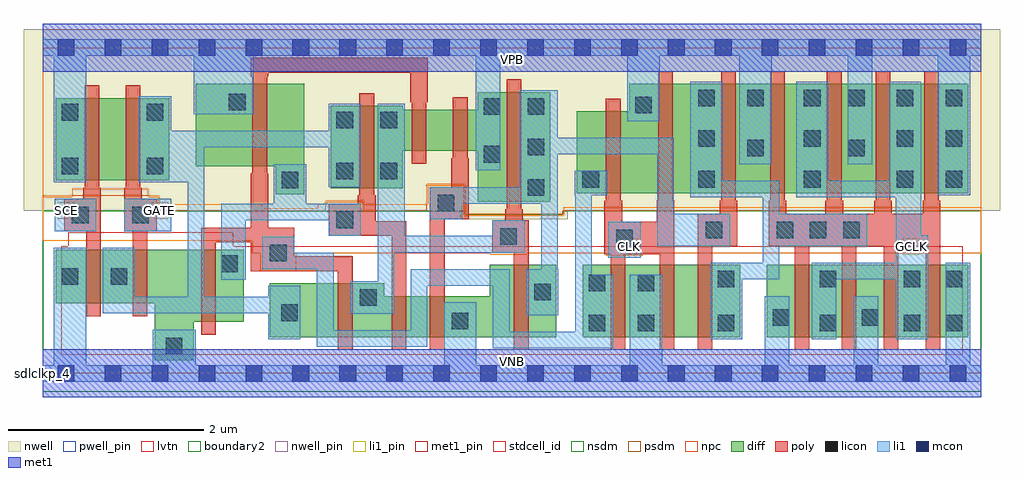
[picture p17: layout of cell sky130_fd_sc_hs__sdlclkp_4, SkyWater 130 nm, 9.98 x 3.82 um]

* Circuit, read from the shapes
.subckt sky130_fd_sc_hs__sdlclkp_4 CLK GATE GCLK SCE VGND VNB VPB VPWR
XM1 n1 SCE VGND VNB sky130_fd_pr__nfet_01v8_lvt w=0.55 l=0.15
XM2 VGND GATE n1 VNB sky130_fd_pr__nfet_01v8_lvt w=0.55 l=0.15
XM3 n2 n3 VGND VNB sky130_fd_pr__nfet_01v8_lvt w=0.74 l=0.15
XM4 n4 n3 n1 VNB sky130_fd_pr__nfet_01v8_lvt w=0.55 l=0.15
XM5 n5 n2 n4 VNB sky130_fd_pr__nfet_01v8_lvt w=0.42 l=0.15
XM6 VGND n6 n5 VNB sky130_fd_pr__nfet_01v8_lvt w=0.42 l=0.15
XM7 n6 n4 VGND VNB sky130_fd_pr__nfet_01v8_lvt w=0.74 l=0.15
XM8 VGND CLK n3 VNB sky130_fd_pr__nfet_01v8_lvt w=0.74 l=0.15
XM9 n7 CLK VGND VNB sky130_fd_pr__nfet_01v8_lvt w=0.74 l=0.15
XM10 n8 n6 n7 VNB sky130_fd_pr__nfet_01v8_lvt w=0.74 l=0.15
XM11 GCLK n8 VGND VNB sky130_fd_pr__nfet_01v8_lvt w=0.74 l=0.15 m=4
XM12 n9 SCE VPWR VPB sky130_fd_pr__pfet_01v8 w=0.84 l=0.15
XM13 n1 GATE n9 VPB sky130_fd_pr__pfet_01v8 w=0.84 l=0.15
XM14 n2 n3 VPWR VPB sky130_fd_pr__pfet_01v8 w=0.84 l=0.15
XM15 n4 n2 n1 VPB sky130_fd_pr__pfet_01v8 w=0.84 l=0.15
XM16 n10 n3 n4 VPB sky130_fd_pr__pfet_01v8 w=0.42 l=0.15
XM17 VPWR n6 n10 VPB sky130_fd_pr__pfet_01v8 w=0.42 l=0.15
XM18 n6 n4 VPWR VPB sky130_fd_pr__pfet_01v8 w=1.12 l=0.15
XM19 VPWR CLK n3 VPB sky130_fd_pr__pfet_01v8 w=0.84 l=0.15
XM20 n8 CLK VPWR VPB sky130_fd_pr__pfet_01v8 w=1.12 l=0.15
XM21 VPWR n6 n8 VPB sky130_fd_pr__pfet_01v8 w=1.12 l=0.15
XM22 GCLK n8 VPWR VPB sky130_fd_pr__pfet_01v8 w=1.12 l=0.15 m=4
.ends

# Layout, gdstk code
import gdstk
lib = gdstk.Library(unit=1e-6, precision=1e-09)
def R(c, l, rs):  # rectangles x0, y0, x1, y1
    for r in rs: c.add(gdstk.rectangle(r[:2], r[2:], *l))
def A(c, l, x, y, w, h, nx, ny, dx, dy):  # array of equal rectangles
    R(c, l, [(x+i*dx, y+j*dy, x+i*dx+w, y+j*dy+h) for i in range(nx) for j in range(ny)])
def P(c, l, *ps):  # polygons
    for p in ps: c.add(gdstk.Polygon(p, *l))
nwell_pin = (64, 16)
nwell = (64, 20)
diff = (65, 20)
poly = (66, 20)
licon = (66, 44)
li1_pin = (67, 16)
li1 = (67, 20)
mcon = (67, 44)
met1_pin = (68, 16)
met1 = (68, 20)
stdcell_id = (81, 4)
nsdm = (93, 44)
psdm = (94, 20)
npc = (95, 20)
pwell_pin = (122, 16)
lvtn = (125, 44)
boundary2 = (236, 0)

sky130_fd_sc_hs__sdlclkp = lib.new_cell('sky130_fd_sc_hs__sdlclkp_4')
R(sky130_fd_sc_hs__sdlclkp, nwell_pin, [(0,3.085,9.6,3.33)])
P(sky130_fd_sc_hs__sdlclkp, nwell, [(9.79,3.52),(-0.19,3.52),(-0.19,1.66),(1.385,1.66),(1.385,1.65),(4.27,1.65),(4.27,1.575),(5.37,1.575),(5.37,1.66),(9.79,1.66)])
R(sky130_fd_sc_hs__sdlclkp, diff, [(5.525,0.37,7.135,1.11), (7.405,0.37,9.465,1.11), (0.135,1.975,1.295,2.815)])
P(sky130_fd_sc_hs__sdlclkp, diff, [(2.055,1.265),(0.135,1.265),(0.135,0.715),(1.145,0.715),(1.145,0.135),(1.545,0.135),(1.545,0.525),(2.055,0.525)],
  [(2.675,2.96),(1.565,2.96),(1.565,2.12),(2.385,2.12),(2.385,1.83),(2.675,1.83)],
  [(5.19,2.875),(4.45,2.875),(4.45,2.695),(3.685,2.695),(3.685,2.735),(2.945,2.735),(2.945,1.895),(3.685,1.895),(3.685,2.275),(4.45,2.275),(4.45,1.755),(5.19,1.755)],
  [(5.255,1.11),(4.57,1.11),(4.57,0.79),(3.495,0.79),(3.495,0.92),(2.325,0.92),(2.325,0.37),(5.255,0.37)],
  [(9.465,2.96),(6,2.96),(6,2.68),(5.46,2.68),(5.46,1.84),(9.465,1.84)])
P(sky130_fd_sc_hs__sdlclkp, poly, [(9.18,1.765),(9.165,1.765),(9.165,3.09),(9.015,3.09),(9.015,1.765),(9,1.765),(9,1.63),(8.685,1.63),(8.685,1.765),(8.67,1.765),(8.67,3.09),(8.52,3.09),(8.52,1.765),(8.505,1.765),(8.505,1.63),(8.185,1.63),(8.185,1.765),(8.17,1.765),(8.17,3.09),(8.02,3.09),(8.02,1.765),(8.005,1.765),(8.005,1.63),(7.605,1.63),(7.605,1.765),(7.59,1.765),(7.59,3.09),(7.44,3.09),(7.44,1.765),(7.425,1.765),(7.425,1.3),(7.69,1.3),(7.69,0.24),(7.84,0.24),(7.84,1.3),(8.17,1.3),(8.17,0.24),(8.32,0.24),(8.32,1.3),(8.6,1.3),(8.6,0.24),(8.75,0.24),(8.75,1.3),(9.03,1.3),(9.03,0.24),(9.18,0.24)],
  [(7.105,1.765),(7.09,1.765),(7.09,3.09),(6.94,3.09),(6.94,1.765),(6.925,1.765),(6.925,1.63),(6.7,1.63),(6.7,0.24),(6.85,0.24),(6.85,1.3),(7.105,1.3)],
  [(6.46,1.765),(6.445,1.765),(6.445,3.09),(6.295,3.09),(6.295,1.765),(6.28,1.765),(6.28,1.55),(5.925,1.55),(5.925,1.765),(5.91,1.765),(5.91,2.81),(5.76,2.81),(5.76,1.765),(5.745,1.765),(5.745,1.22),(5.81,1.22),(5.81,0.24),(5.96,0.24),(5.96,1.22),(6.31,1.22),(6.31,0.24),(6.46,0.24)],
  [(4.97,1.565),(4.91,1.565),(4.91,1.68),(4.895,1.68),(4.895,3.005),(4.745,3.005),(4.745,1.68),(4.73,1.68),(4.73,1.565),(4.6,1.565),(4.6,1.235),(4.82,1.235),(4.82,0.24),(4.97,0.24)],
  [(4.36,2.2),(4.345,2.2),(4.345,2.825),(4.195,2.825),(4.195,2.2),(4.18,2.2),(4.18,1.905),(3.96,1.905),(3.96,0.24),(4.11,0.24),(4.11,1.575),(4.36,1.575)],
  [(3.94,3.225),(2.13,3.225),(2.13,3.035),(2.145,3.035),(2.145,2.045),(2.13,2.045),(2.13,1.49),(1.62,1.49),(1.62,0.395),(1.77,0.395),(1.77,1.34),(2.13,1.34),(2.13,1.045),(3.02,1.045),(3.02,0.24),(3.17,0.24),(3.17,1.195),(2.575,1.195),(2.575,1.49),(2.31,1.49),(2.31,2.045),(2.295,2.045),(2.295,3.035),(2.31,3.035),(2.31,3.075),(3.76,3.075),(3.76,2.77),(3.775,2.77),(3.775,2.145),(3.925,2.145),(3.925,2.77),(3.94,2.77)],
  [(3.72,1.555),(3.405,1.555),(3.405,1.82),(3.39,1.82),(3.39,2.865),(3.24,2.865),(3.24,1.82),(3.225,1.82),(3.225,1.735),(2.925,1.735),(2.925,1.405),(3.57,1.405),(3.57,0.24),(3.72,0.24)],
  [(1.165,1.785),(1.015,1.785),(1.015,1.9),(1,1.9),(1,2.945),(0.85,2.945),(0.85,1.9),(0.835,1.9),(0.835,1.455),(0.92,1.455),(0.92,0.585),(1.07,0.585),(1.07,1.455),(1.165,1.455)],
  [(0.595,1.9),(0.58,1.9),(0.58,2.945),(0.43,2.945),(0.43,1.9),(0.415,1.9),(0.415,1.785),(0.22,1.785),(0.22,1.455),(0.445,1.455),(0.445,0.585),(0.595,0.585)])
A(sky130_fd_sc_hs__sdlclkp, licon, 7.505, 1.38, 0.17, 0.17, 3, 1, 0.34, 0)
A(sky130_fd_sc_hs__sdlclkp, licon, 4.96, 1.815, 0.17, 0.17, 1, 3, 0, 0.415)
A(sky130_fd_sc_hs__sdlclkp, licon, 6.705, 1.9, 0.17, 0.17, 1, 3, 0, 0.415)
A(sky130_fd_sc_hs__sdlclkp, licon, 7.785, 1.9, 0.17, 0.17, 1, 3, 0, 0.415)
A(sky130_fd_sc_hs__sdlclkp, licon, 8.235, 2.73, 0.17, 0.17, 3, 1, 0.5, 0)
R(sky130_fd_sc_hs__sdlclkp, licon, [(1.26,0.195,1.43,0.365), (5.585,0.43,5.755,0.6), (6.085,0.43,6.255,0.6), (6.905,0.43,7.075,0.6), (7.945,0.43,8.115,0.6), (8.805,0.43,8.975,0.6), (9.235,0.43,9.405,0.6), (4.185,0.45,4.355,0.62), (7.465,0.485,7.635,0.655), (8.375,0.485,8.545,0.655), (2.44,0.535,2.61,0.705), (3.245,0.69,3.415,0.86), (5.025,0.745,5.195,0.915), (5.585,0.84,5.755,1.01), (6.085,0.84,6.255,1.01), (6.905,0.88,7.075,1.05), (7.945,0.88,8.115,1.05), (8.805,0.88,8.975,1.05), (9.235,0.88,9.405,1.05), (0.195,0.905,0.365,1.075), (0.695,0.905,0.865,1.075), (1.825,1.035,1.995,1.205), (2.325,1.145,2.495,1.315), (5.865,1.3,6.035,1.47), (4.68,1.315,4.85,1.485), (6.78,1.38,6.95,1.55), (3.005,1.485,3.175,1.655), (0.3,1.535,0.47,1.705), (0.915,1.535,1.085,1.705), (4.04,1.655,4.21,1.825), (2.445,1.89,2.615,2.06), (5.52,1.9,5.69,2.07), (8.735,1.9,8.905,2.07), (9.235,1.9,9.405,2.07), (3.005,1.985,3.175,2.155), (3.455,1.985,3.625,2.155), (0.195,2.035,0.365,2.205), (1.065,2.035,1.235,2.205), (4.51,2.155,4.68,2.325), (7.205,2.22,7.375,2.39), (8.235,2.22,8.405,2.39), (8.735,2.315,8.905,2.485), (9.235,2.315,9.405,2.485), (3.005,2.505,3.175,2.675), (3.455,2.505,3.625,2.675), (0.195,2.585,0.365,2.755), (1.065,2.585,1.235,2.755), (4.51,2.645,4.68,2.815), (6.06,2.66,6.23,2.83), (1.905,2.69,2.075,2.86), (7.205,2.73,7.375,2.9)])
R(sky130_fd_sc_hs__sdlclkp, li1_pin, [(5.915,1.21,6.085,1.38), (8.795,1.21,8.965,1.38), (0.155,1.58,0.325,1.75), (1.115,1.58,1.285,1.75)])
R(sky130_fd_sc_hs__sdlclkp, li1, [(5.785,1.18,6.115,1.55), (0.125,1.455,0.55,1.785), (0.835,1.455,1.315,1.785)])
P(sky130_fd_sc_hs__sdlclkp, li1, [(0,-0.085),(0,0.085),(0.115,0.085),(0.115,1.285),(0.445,1.285),(0.445,0.085),(1.125,0.085),(1.125,0.445),(1.565,0.445),(1.565,0.085),(4.105,0.085),(4.105,0.725),(4.435,0.725),(4.435,0.085),(6.005,0.085),(6.005,1.01),(6.335,1.01),(6.335,0.085),(7.385,0.085),(7.385,0.79),(7.635,0.79),(7.635,0.085),(8.295,0.085),(8.295,0.79),(8.545,0.79),(8.545,0.085),(9.235,0.085),(9.235,1.13),(9.485,1.13),(9.485,0.085),(9.6,0.085),(9.6,-0.085)],
  [(0,3.245),(0,3.415),(9.6,3.415),(9.6,3.245),(9.485,3.245),(9.485,1.82),(9.155,1.82),(9.155,3.245),(8.485,3.245),(8.485,2.14),(8.235,2.14),(8.235,3.245),(7.455,3.245),(7.455,2.14),(7.125,2.14),(7.125,3.245),(6.31,3.245),(6.31,2.58),(5.98,2.58),(5.98,3.245),(4.68,3.245),(4.68,2.075),(4.43,2.075),(4.43,3.245),(2.16,3.245),(2.16,2.65),(1.545,2.65),(1.545,3.245),(0.445,3.245),(0.445,1.955),(0.115,1.955),(0.115,3.245)],
  [(8.725,0.35),(8.725,0.96),(8.115,0.96),(8.115,0.35),(7.865,0.35),(7.865,1.13),(8.725,1.13),(8.725,1.8),(7.705,1.8),(7.705,2.98),(8.035,2.98),(8.035,1.97),(8.655,1.97),(8.655,2.98),(8.985,2.98),(8.985,1.41),(9.055,1.41),(9.055,0.35)],
  [(7.535,0.96),(7.155,0.96),(7.155,0.35),(6.825,0.35),(6.825,1.13),(7.365,1.13),(7.365,1.8),(6.625,1.8),(6.625,2.98),(6.955,2.98),(6.955,1.97),(7.535,1.97),(7.535,1.63),(8.435,1.63),(8.435,1.3),(7.535,1.3)],
  [(3.425,2.755),(3.705,2.755),(3.705,1.405),(4.6,1.405),(4.6,1.565),(4.93,1.565),(4.93,1.235),(3.595,1.235),(3.595,0.61),(3.145,0.61),(3.145,0.94),(3.425,0.94)],
  [(5.1,1.065),(5.1,1.735),(4.29,1.735),(4.29,1.575),(3.96,1.575),(3.96,1.905),(4.88,1.905),(4.88,2.895),(5.27,2.895),(5.27,2.41),(6.455,2.41),(6.455,1.63),(7.03,1.63),(7.03,1.3),(6.285,1.3),(6.285,2.24),(5.27,2.24),(5.27,1.065),(5.275,1.065),(5.275,0.595),(4.945,0.595),(4.945,1.065)],
  [(5.615,1.82),(5.615,1.01),(5.835,1.01),(5.835,0.255),(4.605,0.255),(4.605,0.895),(3.935,0.895),(3.935,0.27),(2.805,0.27),(2.805,1.065),(2.245,1.065),(2.245,1.395),(2.575,1.395),(2.575,1.235),(2.975,1.235),(2.975,0.44),(3.765,0.44),(3.765,1.065),(4.775,1.065),(4.775,0.425),(5.445,0.425),(5.445,1.82),(5.44,1.82),(5.44,2.07),(5.775,2.07),(5.775,1.82)],
  [(1.315,2.48),(2.925,2.48),(2.925,2.755),(3.255,2.755),(3.255,1.905),(2.925,1.905),(2.925,2.31),(1.655,2.31),(1.655,0.785),(2.305,0.785),(2.305,0.895),(2.635,0.895),(2.635,0.35),(2.305,0.35),(2.305,0.615),(0.615,0.615),(0.615,1.285),(0.945,1.285),(0.945,0.785),(1.485,0.785),(1.485,1.955),(0.985,1.955),(0.985,2.835),(1.315,2.835)],
  [(1.825,1.735),(2.365,1.735),(2.365,2.14),(2.695,2.14),(2.695,1.735),(3.255,1.735),(3.255,1.405),(2.925,1.405),(2.925,1.565),(2.075,1.565),(2.075,0.955),(1.825,0.955)])
A(sky130_fd_sc_hs__sdlclkp, mcon, 0.155, -0.085, 0.17, 0.17, 20, 2, 0.48, 3.33)
R(sky130_fd_sc_hs__sdlclkp, met1_pin, [(0,0,9.6,0.245), (0,3.085,9.6,3.33)])
R(sky130_fd_sc_hs__sdlclkp, met1, [(0,-0.245,9.6,0.245), (0,3.085,9.6,3.575)])
R(sky130_fd_sc_hs__sdlclkp, stdcell_id, [(0,0,9.6,3.33)])
P(sky130_fd_sc_hs__sdlclkp, nsdm, [(9.6,1.66),(5.32,1.66),(5.32,1.625),(4.32,1.625),(4.32,1.66),(0,1.66),(0,-0.19),(9.6,-0.19)])
P(sky130_fd_sc_hs__sdlclkp, psdm, [(9.6,3.52),(0,3.52),(0,1.815),(1.195,1.815),(1.195,1.66),(2.895,1.66),(2.895,1.765),(3.285,1.765),(3.285,1.66),(3.93,1.66),(3.93,1.935),(4.32,1.935),(4.32,1.625),(5.32,1.625),(5.32,1.66),(9.6,1.66)])
P(sky130_fd_sc_hs__sdlclkp, npc, [(9.6,1.7),(5.33,1.7),(5.33,1.615),(4.31,1.615),(4.31,1.925),(3.94,1.925),(3.94,1.73),(3.275,1.73),(3.275,1.755),(2.905,1.755),(2.905,1.73),(2.815,1.73),(2.815,1.69),(2.245,1.69),(2.245,1.73),(1.185,1.73),(1.185,1.805),(1.08,1.805),(1.08,1.885),(0.305,1.885),(0.305,1.805),(0,1.805),(0,1.355),(2.145,1.355),(2.145,1.23),(2.225,1.23),(2.225,1.045),(2.595,1.045),(2.595,1.23),(4.58,1.23),(4.58,1.215),(4.95,1.215),(4.95,1.23),(5.765,1.23),(5.765,1.2),(6.135,1.2),(6.135,1.23),(9.6,1.23)])
R(sky130_fd_sc_hs__sdlclkp, pwell_pin, [(0,0,9.6,0.245)])
P(sky130_fd_sc_hs__sdlclkp, lvtn, [(9.41,1.3),(1.95,1.3),(1.95,1.445),(0.265,1.445),(0.265,1.3),(0.19,1.3),(0.19,0.19),(9.41,0.19)])
R(sky130_fd_sc_hs__sdlclkp, boundary2, [(0,0,9.6,3.33)])
sky130_fd_sc_hs__sdlclkp.add(gdstk.Label('sdlclkp_4', (0,0), layer=83, texttype=44))
sky130_fd_sc_hs__sdlclkp.add(gdstk.Label('VNB', (4.8,0.123), layer=64, texttype=59))
sky130_fd_sc_hs__sdlclkp.add(gdstk.Label('VPB', (4.8,3.208), layer=64, texttype=5))
sky130_fd_sc_hs__sdlclkp.add(gdstk.Label('VPWR', (4.8,3.208), layer=68, texttype=5))
sky130_fd_sc_hs__sdlclkp.add(gdstk.Label('VGND', (4.8,0.123), layer=68, texttype=5))
sky130_fd_sc_hs__sdlclkp.add(gdstk.Label('SCE', (0.24,1.665), layer=67, texttype=5))
sky130_fd_sc_hs__sdlclkp.add(gdstk.Label('GATE', (1.2,1.665), layer=67, texttype=5))
sky130_fd_sc_hs__sdlclkp.add(gdstk.Label('CLK', (6,1.295), layer=67, texttype=5))
sky130_fd_sc_hs__sdlclkp.add(gdstk.Label('GCLK', (8.88,1.295), layer=67, texttype=5))

lib.write_gds('sky130_fd_sc_hs__sdlclkp_4.gds')
